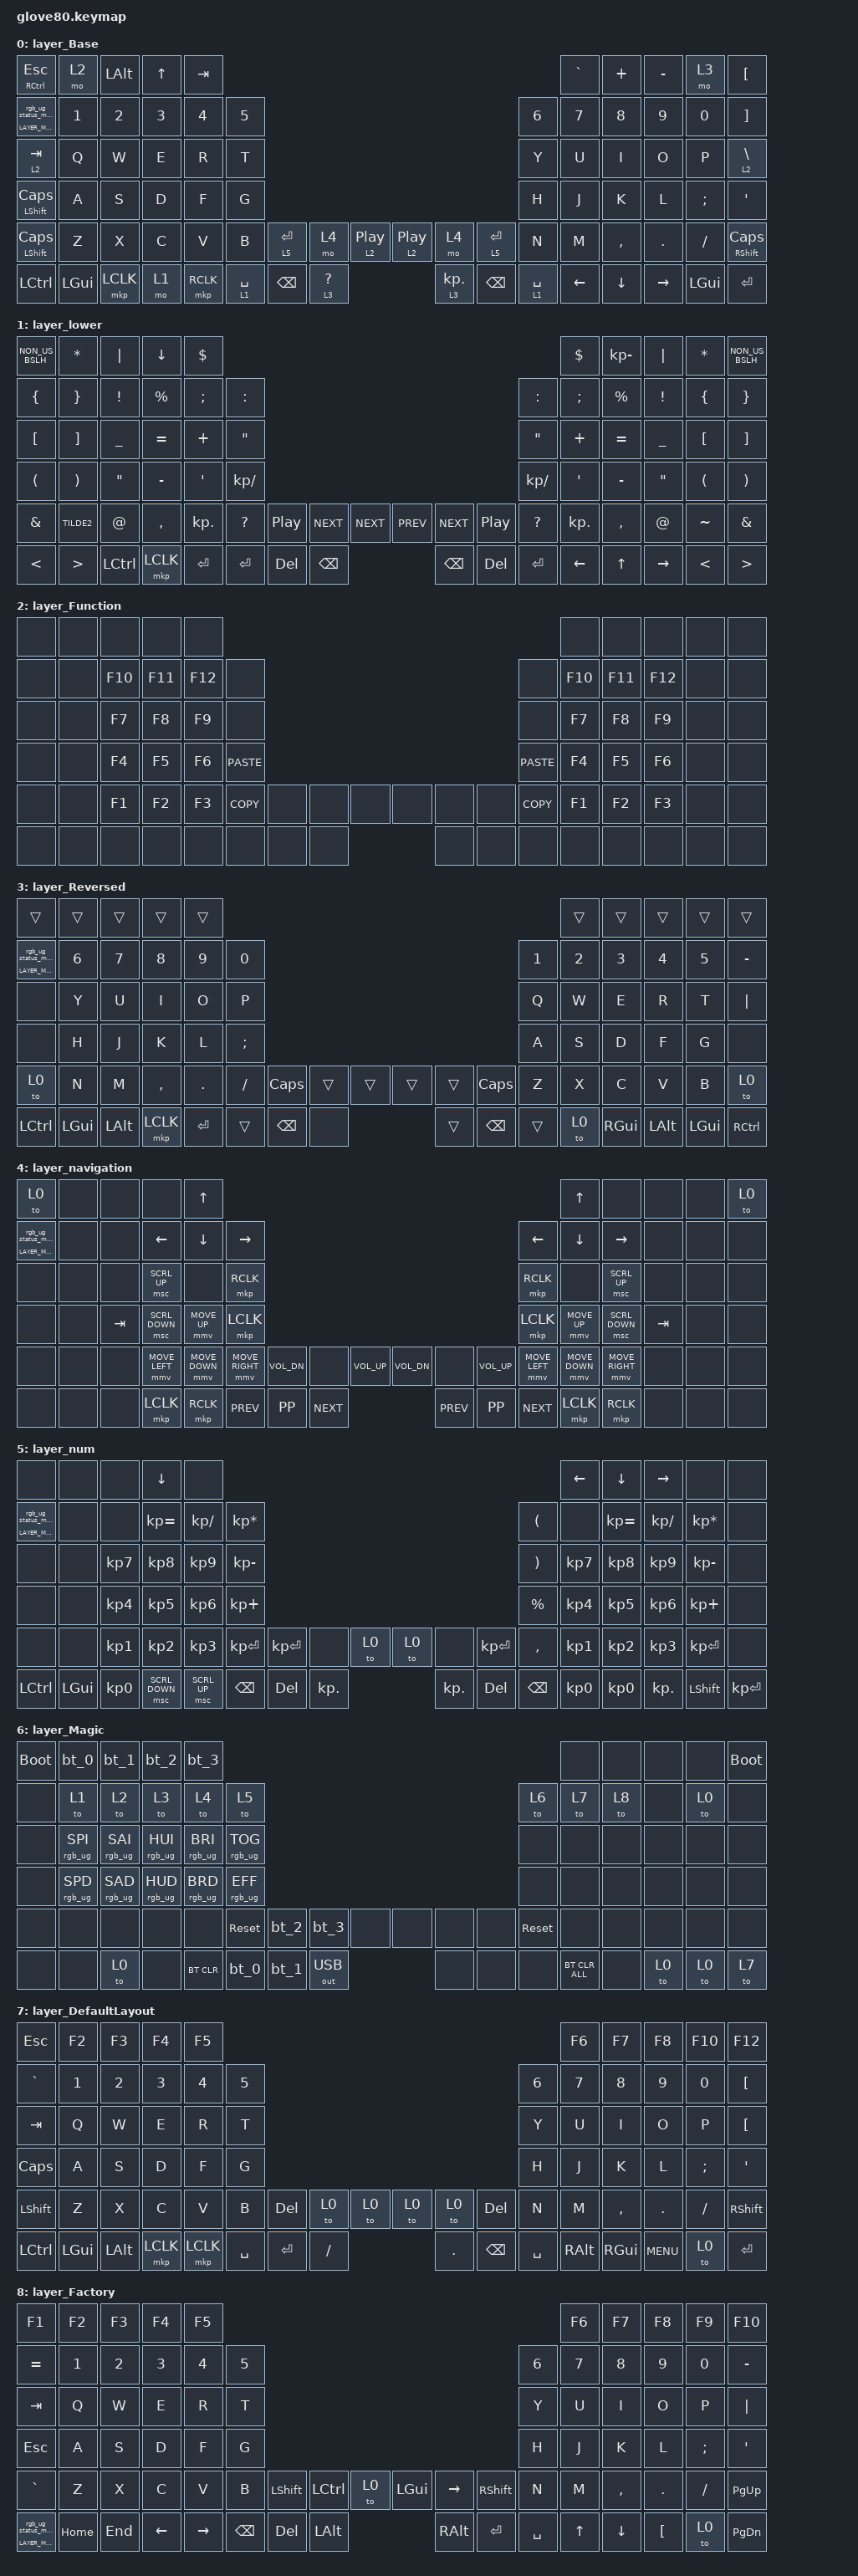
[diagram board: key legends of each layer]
#include <behaviors.dtsi>
/* Include all behavior includes needed */
#include <dt-bindings/zmk/outputs.h>
#include <dt-bindings/zmk/keys.h>
#include <dt-bindings/zmk/bt.h>
#include <dt-bindings/zmk/rgb.h>

/* Automatically generated layer name #define */
#define LAYER_Base 0
#define LAYER_lower 1
#define LAYER_Function 2
#define LAYER_Reversed 3
#define LAYER_navigation 4
#define LAYER_num 5
#define LAYER_Magic 6
#define LAYER_DefaultLayout 7
#define LAYER_Factory 8

/* To deal with the situation where there is no Lower layer, to keep &lower happy */
#ifndef LAYER_Lower
#define LAYER_Lower 0
#endif

/* Custom Device-tree */



/* Glove80 system behavior & macros */
/ {
    behaviors {
        // For the "layer" key, it'd nice to be able to use it as either a shift or a toggle.
        // Configure it as a tap dance, so the first tap (or hold) is a &mo and the second tap is a &to
        lower: lower {
            compatible = "zmk,behavior-tap-dance";
            label = "LAYER_TAP_DANCE";
            #binding-cells = <0>;
            tapping-term-ms = <200>;
            bindings = <&mo LAYER_Lower>, <&to LAYER_Lower>;
        };
    };
};

/ {
    macros {
        rgb_ug_status_macro: rgb_ug_status_macro {
            label = "RGB_UG_STATUS";
            compatible = "zmk,behavior-macro";
            #binding-cells = <0>;
            bindings
                = <&rgb_ug RGB_STATUS>;
        };
    };
};


/ {
#ifdef BT_DISC_CMD
    behaviors {
        bt_0: bt_0 {
            compatible = "zmk,behavior-tap-dance";
            label = "BT_0";
            #binding-cells = <0>;
            tapping-term-ms = <200>;
            bindings = <&bt_select_0>, <&bt BT_DISC 0>;
        };
        bt_1: bt_1 {
            compatible = "zmk,behavior-tap-dance";
            label = "BT_1";
            #binding-cells = <0>;
            tapping-term-ms = <200>;
            bindings = <&bt_select_1>, <&bt BT_DISC 1>;
        };
        bt_2: bt_2 {
            compatible = "zmk,behavior-tap-dance";
            label = "BT_2";
            #binding-cells = <0>;
            tapping-term-ms = <200>;
            bindings = <&bt_select_2>, <&bt BT_DISC 2>;
        };
        bt_3: bt_3 {
            compatible = "zmk,behavior-tap-dance";
            label = "BT_3";
            #binding-cells = <0>;
            tapping-term-ms = <200>;
            bindings = <&bt_select_3>, <&bt BT_DISC 3>;
        };
    };
    macros {
        bt_select_0: bt_select_0 {
            label = "BT_SELECT_0";
            compatible = "zmk,behavior-macro";
            #binding-cells = <0>;
            bindings
                = <&out OUT_BLE>,
                  <&bt BT_SEL 0>;
        };
        bt_select_1: bt_select_1 {
            label = "BT_SELECT_1";
            compatible = "zmk,behavior-macro";
            #binding-cells = <0>;
            bindings
                = <&out OUT_BLE>,
                  <&bt BT_SEL 1>;
        };
        bt_select_2: bt_select_2 {
            label = "BT_SELECT_2";
            compatible = "zmk,behavior-macro";
            #binding-cells = <0>;
            bindings
                = <&out OUT_BLE>,
                  <&bt BT_SEL 2>;
        };
        bt_select_3: bt_select_3 {
            label = "BT_SELECT_3";
            compatible = "zmk,behavior-macro";
            #binding-cells = <0>;
            bindings
                = <&out OUT_BLE>,
                  <&bt BT_SEL 3>;
        };
    };
#else
    macros {
        bt_0: bt_0 {
            label = "BT_0";
            compatible = "zmk,behavior-macro";
            #binding-cells = <0>;
            bindings
                = <&out OUT_BLE>,
                  <&bt BT_SEL 0>;
        };
        bt_1: bt_1 {
            label = "BT_1";
            compatible = "zmk,behavior-macro";
            #binding-cells = <0>;
            bindings
                = <&out OUT_BLE>,
                  <&bt BT_SEL 1>;
        };
        bt_2: bt_2 {
            label = "BT_2";
            compatible = "zmk,behavior-macro";
            #binding-cells = <0>;
            bindings
                = <&out OUT_BLE>,
                  <&bt BT_SEL 2>;
        };
        bt_3: bt_3 {
            label = "BT_3";
            compatible = "zmk,behavior-macro";
            #binding-cells = <0>;
            bindings
                = <&out OUT_BLE>,
                  <&bt BT_SEL 3>;
        };
    };
#endif
};

/ {
    behaviors {
        magic: magic {
            compatible = "zmk,behavior-hold-tap";
            label = "MAGIC_HOLD_TAP";
            #binding-cells = <2>;
            flavor = "tap-preferred";
            tapping-term-ms = <200>;
            bindings = <&mo>, <&rgb_ug_status_macro>;
        };
    };
};

/* #define for key positions */
#define POS_LH_T1 52
#define POS_LH_T2 53
#define POS_LH_T3 54
#define POS_LH_T4 69
#define POS_LH_T5 70
#define POS_LH_T6 71
#define POS_LH_C1R2 15
#define POS_LH_C1R3 27
#define POS_LH_C1R4 39
#define POS_LH_C1R5 51
#define POS_LH_C2R1 4
#define POS_LH_C2R2 14
#define POS_LH_C2R3 26
#define POS_LH_C2R4 38
#define POS_LH_C2R5 50
#define POS_LH_C2R6 68
#define POS_LH_C3R1 3
#define POS_LH_C3R2 13
#define POS_LH_C3R3 25
#define POS_LH_C3R4 37
#define POS_LH_C3R5 49
#define POS_LH_C3R6 67
#define POS_LH_C4R1 2
#define POS_LH_C4R2 12
#define POS_LH_C4R3 24
#define POS_LH_C4R4 36
#define POS_LH_C4R5 48
#define POS_LH_C4R6 66
#define POS_LH_C5R1 1
#define POS_LH_C5R2 11
#define POS_LH_C5R3 23
#define POS_LH_C5R4 35
#define POS_LH_C5R5 47
#define POS_LH_C5R6 65
#define POS_LH_C6R1 0
#define POS_LH_C6R2 10
#define POS_LH_C6R3 22
#define POS_LH_C6R4 34
#define POS_LH_C6R5 46
#define POS_LH_C6R6 64
#define POS_RH_T1 57
#define POS_RH_T2 56
#define POS_RH_T3 55
#define POS_RH_T4 74
#define POS_RH_T5 73
#define POS_RH_T6 72
#define POS_RH_C1R2 16
#define POS_RH_C1R3 28
#define POS_RH_C1R4 40
#define POS_RH_C1R5 58
#define POS_RH_C2R1 5
#define POS_RH_C2R2 17
#define POS_RH_C2R3 29
#define POS_RH_C2R4 41
#define POS_RH_C2R5 59
#define POS_RH_C2R6 75
#define POS_RH_C3R1 6
#define POS_RH_C3R2 18
#define POS_RH_C3R3 30
#define POS_RH_C3R4 42
#define POS_RH_C3R5 60
#define POS_RH_C3R6 76
#define POS_RH_C4R1 7
#define POS_RH_C4R2 19
#define POS_RH_C4R3 31
#define POS_RH_C4R4 43
#define POS_RH_C4R5 61
#define POS_RH_C4R6 77
#define POS_RH_C5R1 8
#define POS_RH_C5R2 20
#define POS_RH_C5R3 32
#define POS_RH_C5R4 44
#define POS_RH_C5R5 62
#define POS_RH_C5R6 78
#define POS_RH_C6R1 9
#define POS_RH_C6R2 21
#define POS_RH_C6R3 33
#define POS_RH_C6R4 45
#define POS_RH_C6R5 63
#define POS_RH_C6R6 79

/* Custom Defined Behaviors */
/ {


//////////////////////////////////////////////////////////////////////////
//
// Mouse keys (control mouse via keyboard) -- requires PR23 beta firmware:
// select "community.pr23.mouse-keys" from the drop-down menu located at
// Glove80 Layout Editor > Settings > Advanced Settings > Firmware Version
//
// - https://github.com/moergo-sc/zmk/pull/23
// - https://gist.github.com/krissen/dd27082e7ab0575619c7a31f4d2ec7ae
// - https://github.com/zmkfirmware/zmk/compare/main...urob:zmk:mouse-3.2
//
//////////////////////////////////////////////////////////////////////////

//
// MOUSE_MOTION_DELAY defines how long to wait (milliseconds) before starting
// to move the mouse pointer.
//
#ifndef MOUSE_MOTION_DELAY
#define MOUSE_MOTION_DELAY 0
#endif

//
// MOUSE_MOTION_ACCELERATION_EXPONENT sets how the mouse pointer accelerates:
//
// acceleration exponent 0: uniform speed
// acceleration exponent 1: uniform acceleration
// acceleration exponent 2: uniform jerk
//
#ifndef MOUSE_MOTION_ACCELERATION_EXPONENT
#define MOUSE_MOTION_ACCELERATION_EXPONENT 1
#endif

//
// MOUSE_MOTION_TIME_TO_MAXIMUM_SPEED defines how long to wait (milliseconds)
// before the mouse pointer speed is suddenly boosted to the maximum value.
//
#ifndef MOUSE_MOTION_TIME_TO_MAXIMUM_SPEED
#define MOUSE_MOTION_TIME_TO_MAXIMUM_SPEED 300
#endif

//
// MOUSE_MOTION_MAXIMUM_SPEED defines how quickly the mouse pointer can move.
//
#ifndef MOUSE_MOTION_MAXIMUM_SPEED
#define MOUSE_MOTION_MAXIMUM_SPEED 1800
#endif

//
// MOUSE_SCROLL_DELAY defines how long to wait (milliseconds) before starting
// to move the mouse pointer.
//
#ifndef MOUSE_SCROLL_DELAY
#define MOUSE_SCROLL_DELAY 0
#endif

//
// MOUSE_SCROLL_ACCELERATION_EXPONENT sets how the mouse pointer accelerates:
//
// acceleration exponent 0: uniform speed
// acceleration exponent 1: uniform acceleration
// acceleration exponent 2: uniform jerk
//
#ifndef MOUSE_SCROLL_ACCELERATION_EXPONENT
#define MOUSE_SCROLL_ACCELERATION_EXPONENT 1
#endif

//
// MOUSE_SCROLL_TIME_TO_MAXIMUM_SPEED defines how long to wait (milliseconds)
// before the mouse pointer speed is suddenly boosted to the maximum value.
//
#ifndef MOUSE_SCROLL_TIME_TO_MAXIMUM_SPEED
#define MOUSE_SCROLL_TIME_TO_MAXIMUM_SPEED 300
#endif

//
// MOUSE_SCROLL_MAXIMUM_SPEED defines how quickly the mouse wheel can scroll.
//
#ifndef MOUSE_SCROLL_MAXIMUM_SPEED
#define MOUSE_SCROLL_MAXIMUM_SPEED 10
#endif
/*HACK*/};
#if __has_include(<zmk/events/mouse_tick.h>)
    // ==== MOUSE-KEY <section begins> ====
    #define ZMK_MOUSE_DEFAULT_MOVE_VAL MOUSE_MOTION_MAXIMUM_SPEED
    #define ZMK_MOUSE_DEFAULT_SCRL_VAL MOUSE_SCROLL_MAXIMUM_SPEED
    #include <dt-bindings/zmk/mouse.h>
    &mmv {
      delay-ms = <MOUSE_MOTION_DELAY>;
      acceleration-exponent = <MOUSE_MOTION_ACCELERATION_EXPONENT>;
      time-to-max-speed-ms = <MOUSE_MOTION_TIME_TO_MAXIMUM_SPEED>;
    };
    &msc {
      delay-ms = <MOUSE_SCROLL_DELAY>;
      acceleration-exponent = <MOUSE_SCROLL_ACCELERATION_EXPONENT>;
      time-to-max-speed-ms = <MOUSE_SCROLL_TIME_TO_MAXIMUM_SPEED>;
    };
    // ==== MOUSE-KEY <section ends> =====
#else
    #define mkp none
    #define mmv none
    #define msc none
    #define LCLK
    #define MCLK
    #define RCLK
    #define MB1
    #define MB2
    #define MB3
    #define MB4
    #define MB5
    #define MB6
    #define MB7
    #define MB8
    #define MOVE_UP
    #define MOVE_DOWN
    #define MOVE_LEFT
    #define MOVE_RIGHT
    #define SCRL_UP
    #define SCRL_DOWN
    #define SCRL_LEFT
    #define SCRL_RIGHT
#endif
/*HACK*//{
};

/* Automatically generated macro definitions */
/ {
    macros {
    
    };
};

/* Automatically generated combos definitions */
/ {
    combos {
            compatible = "zmk,combos";
    };
};

/* Automatically generated keymap */
/ {
    keymap {
        compatible = "zmk,keymap";


        layer_Base {
            bindings = <
        &mt RCTRL ESC     &mo 2   &kp LALT  &kp UP    &kp TAB                                                                                           &kp GRAVE   &kp PLUS  &kp MINUS     &mo 3        &kp LBKT
 &magic LAYER_Magic 0    &kp N1     &kp N2  &kp N3     &kp N4  &kp N5                                                                           &kp N6     &kp N7     &kp N8     &kp N9    &kp N0        &kp RBKT
            &lt 2 TAB     &kp Q      &kp W   &kp E      &kp R   &kp T                                                                            &kp Y      &kp U      &kp I      &kp O     &kp P      &lt 2 BSLH
       &mt LSHFT CAPS     &kp A      &kp S   &kp D      &kp F   &kp G                                                                            &kp H      &kp J      &kp K      &kp L  &kp SEMI         &kp SQT
       &mt LSHFT CAPS     &kp Z      &kp X   &kp C      &kp V   &kp B    &lt 5 RET     &mo 4   &lt 2 C_PP    &lt 2 C_PP     &mo 4    &lt 5 RET   &kp N      &kp M  &kp COMMA    &kp DOT  &kp FSLH  &mt RSHFT CAPS
            &kp LCTRL  &kp LGUI  &mkp LCLK   &mo 1  &mkp RCLK          &lt 1 SPACE  &kp BSPC  &lt 3 QMARK  &lt 3 KP_DOT  &kp BSPC  &lt 1 SPACE           &kp LEFT   &kp DOWN  &kp RIGHT  &kp LGUI         &kp RET
            >;
        };

        layer_lower {
            bindings = <
 &kp NON_US_BSLH    &kp STAR   &kp PIPE   &kp DOWN    &kp DLLR                                                                                                    &kp DLLR  &kp KP_MINUS   &kp PIPE   &kp STAR  &kp NON_US_BSLH
        &kp LBRC    &kp RBRC   &kp EXCL  &kp PRCNT    &kp SEMI     &kp COLON                                                                         &kp COLON    &kp SEMI     &kp PRCNT   &kp EXCL   &kp LBRC         &kp RBRC
        &kp LBKT    &kp RBKT  &kp UNDER  &kp EQUAL    &kp PLUS       &kp DQT                                                                           &kp DQT    &kp PLUS     &kp EQUAL  &kp UNDER   &kp LBKT         &kp RBKT
        &kp LPAR    &kp RPAR    &kp DQT  &kp MINUS     &kp SQT  &kp KP_SLASH                                                                      &kp KP_SLASH     &kp SQT     &kp MINUS    &kp DQT   &kp LPAR         &kp RPAR
        &kp AMPS  &kp TILDE2     &kp AT  &kp COMMA  &kp KP_DOT     &kp QMARK  &kp C_PP  &kp C_NEXT  &kp C_NEXT  &kp C_PREV  &kp C_NEXT  &kp C_PP     &kp QMARK  &kp KP_DOT     &kp COMMA     &kp AT  &kp TILDE         &kp AMPS
          &kp LT      &kp GT  &kp LCTRL  &mkp LCLK     &kp RET                 &kp RET     &kp DEL    &kp BSPC    &kp BSPC     &kp DEL   &kp RET                  &kp LEFT        &kp UP  &kp RIGHT     &kp LT           &kp GT
            >;
        };

        layer_Function {
            bindings = <
  &none   &none    &none    &none    &none                                                                              &none    &none    &none   &none   &none
  &none   &none  &kp F10  &kp F11  &kp F12        &none                                                        &none  &kp F10  &kp F11  &kp F12   &none   &none
  &none   &none   &kp F7   &kp F8   &kp F9        &none                                                        &none   &kp F7   &kp F8   &kp F9   &none   &none
  &none   &none   &kp F4   &kp F5   &kp F6  &kp K_PASTE                                                  &kp K_PASTE   &kp F4   &kp F5   &kp F6   &none   &none
  &none   &none   &kp F1   &kp F2   &kp F3   &kp K_COPY   &none   &none   &none   &none   &none   &none   &kp K_COPY   &kp F1   &kp F2   &kp F3   &none   &none
  &none   &none    &none    &none    &none                &none   &none   &none   &none   &none   &none                 &none    &none    &none   &none   &none
            >;
        };

        layer_Reversed {
            bindings = <
               &trans    &trans    &trans     &trans   &trans                                                                            &trans    &trans    &trans    &trans     &trans
 &magic LAYER_Magic 0    &kp N6    &kp N7     &kp N8   &kp N9    &kp N0                                                          &kp N1  &kp N2    &kp N3    &kp N4    &kp N5  &kp MINUS
                &none     &kp Y     &kp U      &kp I    &kp O     &kp P                                                           &kp Q   &kp W     &kp E     &kp R     &kp T   &kp PIPE
                &none     &kp H     &kp J      &kp K    &kp L  &kp SEMI                                                           &kp A   &kp S     &kp D     &kp F     &kp G      &none
                &to 0     &kp N     &kp M  &kp COMMA  &kp DOT  &kp FSLH  &kp CAPS    &trans  &trans  &trans    &trans  &kp CAPS   &kp Z   &kp X     &kp C     &kp V     &kp B      &to 0
            &kp LCTRL  &kp LGUI  &kp LALT  &mkp LCLK  &kp RET              &trans  &kp BSPC   &none  &trans  &kp BSPC    &trans           &to 0  &kp RGUI  &kp LALT  &kp LGUI  &kp RCTRL
            >;
        };

        layer_navigation {
            bindings = <
                &to 0   &none    &none           &none          &kp UP                                                                                                                       &kp UP            &none    &none   &none   &to 0
 &magic LAYER_Magic 0   &none    &none        &kp LEFT        &kp DOWN        &kp RIGHT                                                                                    &kp LEFT        &kp DOWN        &kp RIGHT    &none   &none   &none
                &none   &none    &none    &msc SCRL_UP           &none        &mkp RCLK                                                                                   &mkp RCLK           &none     &msc SCRL_UP    &none   &none   &none
                &none   &none  &kp TAB  &msc SCRL_DOWN    &mmv MOVE_UP        &mkp LCLK                                                                                   &mkp LCLK    &mmv MOVE_UP   &msc SCRL_DOWN  &kp TAB   &none   &none
                &none   &none    &none  &mmv MOVE_LEFT  &mmv MOVE_DOWN  &mmv MOVE_RIGHT  &kp K_VOL_DN     &none  &kp K_VOL_UP  &kp K_VOL_DN     &none  &kp K_VOL_UP  &mmv MOVE_LEFT  &mmv MOVE_DOWN  &mmv MOVE_RIGHT    &none   &none   &none
                &none   &none    &none       &mkp LCLK       &mkp RCLK                     &kp C_PREV  &kp K_PP    &kp C_NEXT    &kp C_PREV  &kp K_PP    &kp C_NEXT                       &mkp LCLK        &mkp RCLK    &none   &none   &none
            >;
        };

        layer_num {
            bindings = <
                &none     &none      &none        &kp DOWN         &none                                                                                                                 &kp LEFT      &kp DOWN     &kp RIGHT            &none         &none
 &magic LAYER_Magic 0     &none      &none    &kp KP_EQUAL  &kp KP_SLASH  &kp KP_MULTIPLY                                                                         &kp LEFT_PARENTHESIS      &none  &kp KP_EQUAL  &kp KP_SLASH  &kp KP_MULTIPLY         &none
                &none     &none  &kp KP_N7       &kp KP_N8     &kp KP_N9     &kp KP_MINUS                                                                        &kp RIGHT_PARENTHESIS  &kp KP_N7     &kp KP_N8     &kp KP_N9     &kp KP_MINUS         &none
                &none     &none  &kp KP_N4       &kp KP_N5     &kp KP_N6      &kp KP_PLUS                                                                                  &kp PERCENT  &kp KP_N4     &kp KP_N5     &kp KP_N6      &kp KP_PLUS         &none
                &none     &none  &kp KP_N1       &kp KP_N2     &kp KP_N3     &kp KP_ENTER  &kp KP_ENTER    &none       &to 0       &to 0    &none  &kp KP_ENTER              &kp COMMA  &kp KP_N1     &kp KP_N2     &kp KP_N3     &kp KP_ENTER         &none
            &kp LCTRL  &kp LGUI  &kp KP_N0  &msc SCRL_DOWN  &msc SCRL_UP                       &kp BSPC  &kp DEL  &kp KP_DOT  &kp KP_DOT  &kp DEL      &kp BSPC                         &kp KP_N0     &kp KP_N0    &kp KP_DOT        &kp LSHFT  &kp KP_ENTER
            >;
        };

        layer_Magic {
            bindings = <
 &bootloader            &bt_0            &bt_1            &bt_2            &bt_3                                                                                              &none   &none   &none   &none  &bootloader
       &none            &to 1            &to 2            &to 3            &to 4            &to 5                                                             &to 6           &to 7   &to 8   &none   &to 0        &none
       &none  &rgb_ug RGB_SPI  &rgb_ug RGB_SAI  &rgb_ug RGB_HUI  &rgb_ug RGB_BRI  &rgb_ug RGB_TOG                                                             &none           &none   &none   &none   &none        &none
       &none  &rgb_ug RGB_SPD  &rgb_ug RGB_SAD  &rgb_ug RGB_HUD  &rgb_ug RGB_BRD  &rgb_ug RGB_EFF                                                             &none           &none   &none   &none   &none        &none
       &none            &none            &none            &none            &none       &sys_reset   &bt_2   &bt_3         &none   &none   &none   &none  &sys_reset           &none   &none   &none   &none        &none
       &none            &none            &to 0            &none       &bt BT_CLR                    &bt_0   &bt_1  &out OUT_USB   &none   &none   &none              &bt BT_CLR_ALL   &none   &to 0   &to 0        &to 7
            >;
        };

        layer_DefaultLayout {
            bindings = <
   &kp ESC    &kp F2    &kp F3     &kp F4     &kp F5                                                                                &kp F6     &kp F7      &kp F8   &kp F10    &kp F12
 &kp GRAVE    &kp N1    &kp N2     &kp N3     &kp N4  &kp N5                                                              &kp N6    &kp N7     &kp N8      &kp N9    &kp N0   &kp LBKT
   &kp TAB     &kp Q     &kp W      &kp E      &kp R   &kp T                                                               &kp Y     &kp U      &kp I       &kp O     &kp P   &kp LBKT
  &kp CAPS     &kp A     &kp S      &kp D      &kp F   &kp G                                                               &kp H     &kp J      &kp K       &kp L  &kp SEMI    &kp SQT
 &kp LSHFT     &kp Z     &kp X      &kp C      &kp V   &kp B    &kp DEL    &to 0     &to 0    &to 0     &to 0    &kp DEL   &kp N     &kp M  &kp COMMA     &kp DOT  &kp FSLH  &kp RSHFT
 &kp LCTRL  &kp LGUI  &kp LALT  &mkp LCLK  &mkp LCLK          &kp SPACE  &kp RET  &kp FSLH  &kp DOT  &kp BSPC  &kp SPACE          &kp RALT   &kp RGUI  &kp C_MENU     &to 0    &kp RET
            >;
        };

        layer_Factory {
            bindings = <
               &kp F1    &kp F2   &kp F3    &kp F4     &kp F5                                                                                  &kp F6     &kp F7    &kp F8    &kp F9    &kp F10
            &kp EQUAL    &kp N1   &kp N2    &kp N3     &kp N4  &kp N5                                                                  &kp N6  &kp N7     &kp N8    &kp N9    &kp N0  &kp MINUS
              &kp TAB     &kp Q    &kp W     &kp E      &kp R   &kp T                                                                   &kp Y   &kp U      &kp I     &kp O     &kp P   &kp PIPE
              &kp ESC     &kp A    &kp S     &kp D      &kp F   &kp G                                                                   &kp H   &kp J      &kp K     &kp L  &kp SEMI    &kp SQT
            &kp GRAVE     &kp Z    &kp X     &kp C      &kp V   &kp B  &kp LSHFT  &kp LCTRL     &to 0  &kp LGUI  &kp RIGHT  &kp RSHFT   &kp N   &kp M  &kp COMMA   &kp DOT  &kp FSLH  &kp PG_UP
 &magic LAYER_Magic 0  &kp HOME  &kp END  &kp LEFT  &kp RIGHT           &kp BSPC    &kp DEL  &kp LALT  &kp RALT    &kp RET  &kp SPACE          &kp UP   &kp DOWN  &kp LBKT     &to 0  &kp PG_DN
            >;
        };

    };
};
